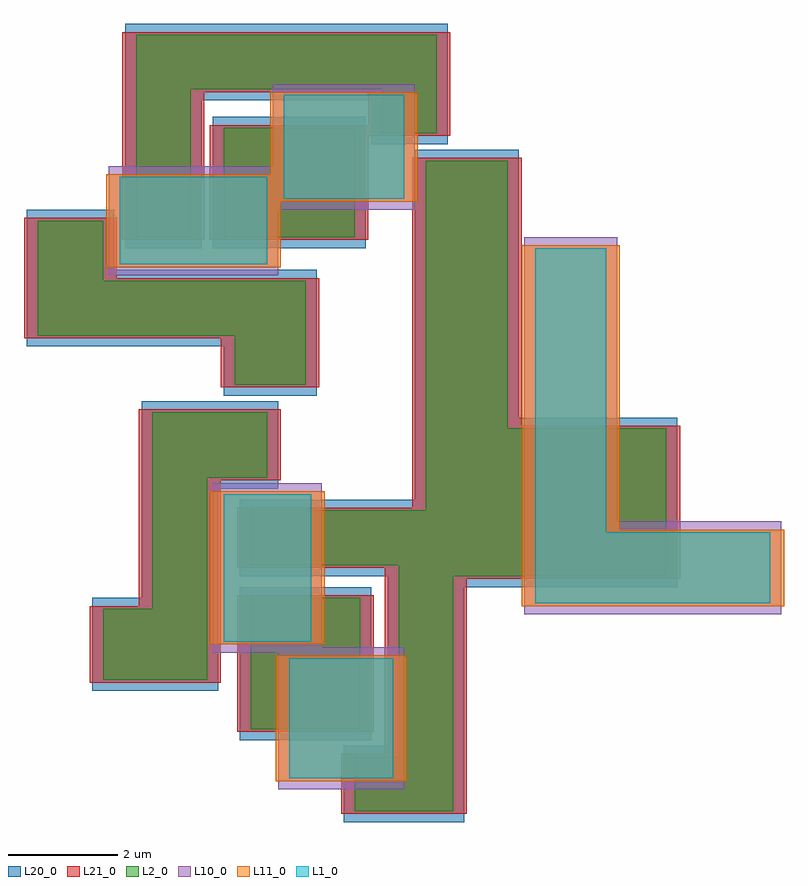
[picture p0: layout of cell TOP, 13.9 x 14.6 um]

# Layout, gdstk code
from math import pi, radians
import gdstk
lib = gdstk.Library(unit=1e-6, precision=1e-09)
def R(c, l, rs):  # rectangles x0, y0, x1, y1
    for r in rs: c.add(gdstk.rectangle(r[:2], r[2:], *l))
def P(c, l, *ps):  # polygons
    for p in ps: c.add(gdstk.Polygon(p, *l))
L1_0 = (1, 0)
L2_0 = (2, 0)
L10_0 = (10, 0)
L11_0 = (11, 0)
L20_0 = (20, 0)
L21_0 = (21, 0)

c_a = lib.new_cell('A')
R(c_a, L1_0, [(0.4,0.8,2.6,2.7), (2.9,2.3,5.6,3.9)])
R(c_a, L2_0, [(1.3,1.4,3.7,3.4), (5.9,3.1,7.1,5.2)])
P(c_a, L2_0, [(2.2,4.2),(2.2,6.1),(3.5,6.1),(3.5,5.2),(5.9,5.2),(5.9,4.2)],
  [(-0.2,-0.3),(-0.2,1.5),(0.8,1.5),(0.8,0.7),(4.3,0.7),(4.3,3.4),(5.3,3.4),(5.3,-0.3)])
R(c_a, L10_0, [(0.2,0.6,2.8,2.9), (2.7,2.1,5.8,4.1)])

a_1 = lib.new_cell('A$1')
R(a_1, L11_0, [(0.15,0.75,2.85,2.75), (2.65,2.25,5.85,3.95)])
R(a_1, L20_0, [(1.1,1.2,3.9,3.6), (5.7,2.9,7.3,5.4)])
P(a_1, L20_0, [(2,4),(2,6.3),(3.7,6.3),(3.7,5.4),(6.1,5.4),(6.1,4)],
  [(-0.4,-0.5),(-0.4,1.7),(1,1.7),(1,0.9),(4.1,0.9),(4.1,3.6),(5.5,3.6),(5.5,-0.5)])
R(a_1, L21_0, [(1.05,1.35,3.95,3.45), (5.65,3.05,7.35,5.25)])
P(a_1, L21_0, [(1.95,4.15),(1.95,6.15),(3.75,6.15),(3.75,5.25),(6.15,5.25),(6.15,4.15)],
  [(-0.45,-0.35),(-0.45,1.55),(1.05,1.55),(1.05,0.75),(4.05,0.75),(4.05,3.45),(5.55,3.45),(5.55,-0.35)])

a_var1 = lib.new_cell('A$VAR1')
R(a_var1, L11_0, [(0.35,0.55,2.65,2.95), (2.85,2.05,5.65,4.15)])
R(a_var1, L20_0, [(1.1,1.2,3.9,3.6), (5.7,2.9,7.3,5.4)])
P(a_var1, L20_0, [(2,4),(2,6.3),(3.7,6.3),(3.7,5.4),(6.1,5.4),(6.1,4)])
R(a_var1, L21_0, [(1.25,1.15,3.75,3.65), (5.85,2.85,7.15,5.45)])
P(a_var1, L21_0, [(2.15,3.95),(2.15,6.35),(3.55,6.35),(3.55,5.45),(5.95,5.45),(5.95,3.95)])

top = lib.new_cell('TOP')
P(top, L1_0, [(8.4,4.1),(8.4,10.6),(9.7,10.6),(9.7,5.4),(12.7,5.4),(12.7,4.1)])
R(top, L2_0, [(6.6,4.6,10.8,5.8)])
P(top, L2_0, [(6.4,5.8),(6.4,12.2),(7.9,12.2),(7.9,7.3),(10.8,7.3),(10.8,5.8)])
P(top, L10_0, [(8.2,3.9),(8.2,10.8),(9.9,10.8),(9.9,5.6),(12.9,5.6),(12.9,3.9)])
P(top, L11_0, [(8.15,4.05),(8.15,10.65),(9.95,10.65),(9.95,5.45),(12.95,5.45),(12.95,4.05)])
P(top, L20_0, [(6.2,5.6),(6.2,12.4),(8.1,12.4),(8.1,7.5),(11,7.5),(11,5.6)],
  [(4.9,0.1),(4.9,1.5),(5.7,1.5),(5.7,4.6),(3,4.6),(3,6),(11,6),(11,4.4),(7.1,4.4),(7.1,0.1)])
P(top, L21_0, [(6.15,5.75),(6.15,12.25),(8.15,12.25),(8.15,7.35),(11.05,7.35),(11.05,5.75)],
  [(4.85,0.25),(4.85,1.35),(5.65,1.35),(5.65,4.75),(2.95,4.75),(2.95,5.85),(11.05,5.85),(11.05,4.55),(7.15,4.55),(7.15,0.25)])
top.add(gdstk.Reference(c_a, (6.6,0.5), rotation=pi/2))
top.add(gdstk.Reference(c_a, (6.4,14.2), rotation=pi))
top.add(gdstk.Reference(a_1, (6.4,14.2), rotation=pi))
top.add(gdstk.Reference(a_var1, (6.6,0.5), rotation=pi/2))

lib.write_gds('TOP.gds')
